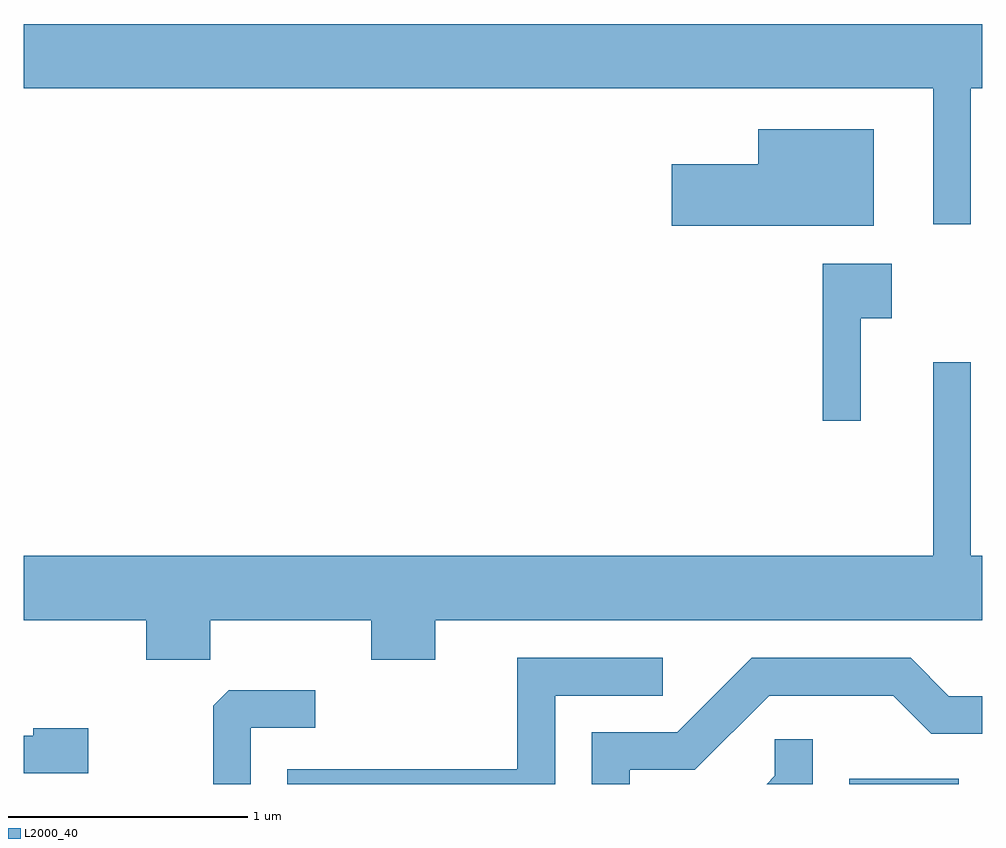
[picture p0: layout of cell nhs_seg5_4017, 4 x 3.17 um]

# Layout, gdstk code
import gdstk
lib = gdstk.Library(unit=1e-6, precision=1e-09)
def R(c, l, rs):  # rectangles x0, y0, x1, y1
    for r in rs: c.add(gdstk.rectangle(r[:2], r[2:], *l))
def P(c, l, *ps):  # polygons
    for p in ps: c.add(gdstk.Polygon(p, *l))
L2000_40 = (2000, 40)

nhs_seg5_4017 = lib.new_cell('nhs_seg5_4017')
R(nhs_seg5_4017, L2000_40, [(307.056,1496.072,307.514,1496.094)])
P(nhs_seg5_4017, L2000_40, [(307.564,1498.976),(307.611,1498.976),(307.611,1499.244),(303.611,1499.244),(303.611,1498.976),(307.406,1498.976),(307.406,1498.408),(307.564,1498.408)],
  [(307.159,1498.804),(306.676,1498.804),(306.676,1498.659),(306.316,1498.659),(306.316,1498.401),(307.159,1498.401)],
  [(307.104,1498.016),(307.234,1498.016),(307.234,1498.244),(306.946,1498.244),(306.946,1497.588),(307.104,1497.588)],
  [(304.389,1496.756),(305.061,1496.756),(305.061,1496.591),(305.329,1496.591),(305.329,1496.756),(307.611,1496.756),(307.611,1497.024),(307.564,1497.024),(307.564,1497.833),(307.406,1497.833),(307.406,1497.024),(303.611,1497.024),(303.611,1496.756),(304.121,1496.756),(304.121,1496.591),(304.389,1496.591)],
  [(305.829,1496.441),(306.278,1496.441),(306.278,1496.599),(305.671,1496.599),(305.671,1496.134),(304.711,1496.134),(304.711,1496.072),(305.829,1496.072)],
  [(306.139,1496.131),(306.412,1496.131),(306.722,1496.441),(307.239,1496.441),(307.399,1496.281),(307.611,1496.281),(307.611,1496.439),(307.472,1496.439),(307.312,1496.599),(306.649,1496.599),(306.339,1496.289),(305.981,1496.289),(305.981,1496.072),(306.139,1496.072)],
  [(304.559,1496.306),(304.828,1496.306),(304.828,1496.464),(304.467,1496.464),(304.401,1496.399),(304.401,1496.072),(304.559,1496.072)],
  [(303.879,1496.304),(303.651,1496.304),(303.651,1496.274),(303.611,1496.274),(303.611,1496.116),(303.879,1496.116)],
  [(306.904,1496.258),(306.746,1496.258),(306.746,1496.107),(306.711,1496.072),(306.904,1496.072)])

lib.write_gds('nhs_seg5_4017.gds')
